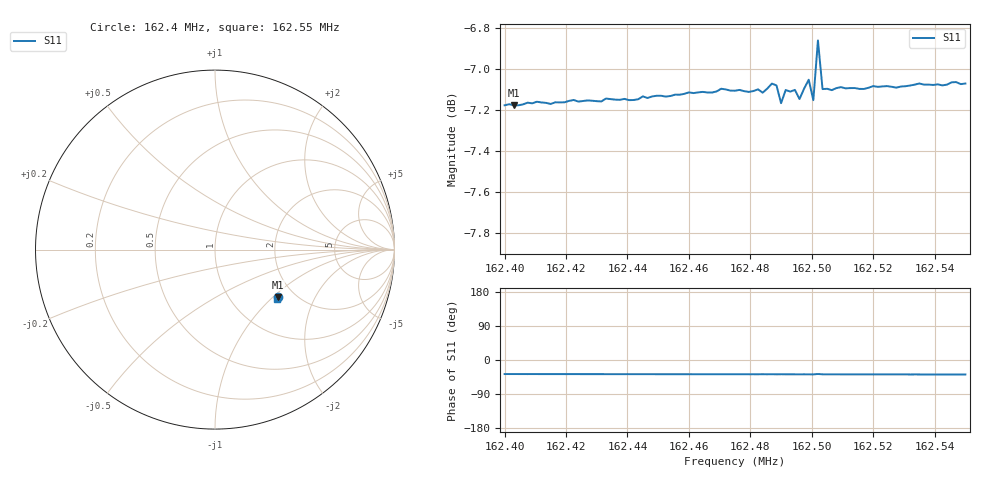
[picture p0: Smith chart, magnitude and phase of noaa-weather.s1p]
! Calibrated averaged scanner-service zoom
# Hz S RI R 50
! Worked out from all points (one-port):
!   101 points, 162.4 MHz to 162.55 MHz, reference 50 ohm
!   lowest |S11| = -7.2 dB at 162.403 MHz (marker M1), VSWR 2.56, Z = 81.9 - j53.5 ohm
!   |S11| at or under -10 dB: nowhere
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1.624e8  0.3491 -0.264
1.62403e8  0.349 -0.2641
1.624105e8  0.3495 -0.2649
1.624195e8  0.3489 -0.2655
1.624225e8  0.3494 -0.2658
1.624375e8  0.3489 -0.2665
1.62457e8  0.3491 -0.2683
1.624675e8  0.3494 -0.2688
1.624705e8  0.3501 -0.2694
1.62475e8  0.3495 -0.2694
1.624825e8  0.3494 -0.27
1.62484e8  0.3499 -0.2681
1.624855e8  0.3495 -0.2702
1.62487e8  0.3512 -0.27
1.624885e8  0.3497 -0.2713
1.6249e8  0.3469 -0.2677
1.624915e8  0.349 -0.2703
1.624945e8  0.3487 -0.2707
1.62496e8  0.3467 -0.2697
1.62499e8  0.3505 -0.2725
1.625005e8  0.346 -0.27
1.62502e8  0.3626 -0.2729
1.625035e8  0.3488 -0.2709
1.625125e8  0.3485 -0.2716
1.62532e8  0.3482 -0.2731
1.625425e8  0.3481 -0.2733
1.62547e8  0.3486 -0.2739
1.6255e8  0.3481 -0.274
